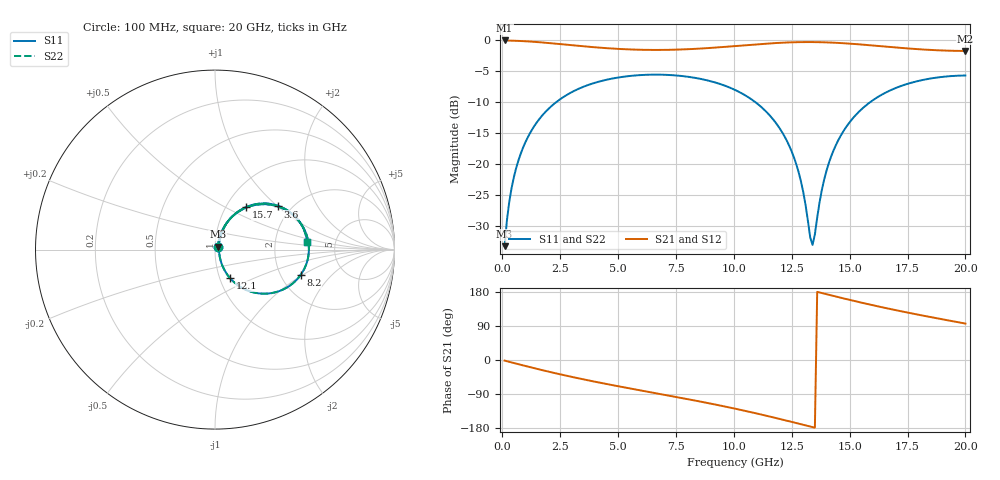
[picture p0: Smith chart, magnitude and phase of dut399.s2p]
! Touchstone file exported from HFSS 2026.1.0
!  File:  C:/ffzhzh/LocalFiles/Ansys_Project_Files/temp_train_TSV_RDL_399_1783092122_53076.aedt
!  Generated:  11:34:22 PM Jul  3, 2026
!  Design:  TSV_RDL
!  Project:  temp_train_TSV_RDL_399_1783092122_53076
! Variables:
!  h_bsmrdl = 4.6um
!  h_ox = 20um
!  h_rdl = 5um
!  h_sub = 90.28um
!  h_tmrdl = 5.71um
!  h_tsv = 90.28um
!  h_via = 3um
!  l_bsmrdl = 144.47um
!  l_sub = 4429.01um
!  l_tmrdl = 864.61um
!  m_sub = 200um
!  pitch = 49.8um
!  r_tsv = 5.49um
!  s_tmrdl = 10um
!  w_bsmrdl = 24.38um
!  w_sub = 500um
!  w_tmrdl = 21.34um
!  x_tsv_center1 = 875.28um
!  x_tsv_center2 = 1044.13um
!  x_tsv_center3 = 1930.08um
!  x_tsv_center4 = 2098.93um
!  x_tsv_center5 = 2984.88um
!  x_tsv_center6 = 3153.73um
# GHz S MA R 50.000000
! Terminal data exported
! Port[1] = TM_RDL1_1_T1
! Port[2] = TM_RDL5_1_T1
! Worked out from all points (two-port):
!   200 points, 100 MHz to 20 GHz, reference 50 ohm
!   highest |S21| = -0.13 dB at 100 MHz (marker M1); lowest = -1.8 dB at 20 GHz (marker M2)
!   |S21| within 3 dB of the highest: start of sweep to end of sweep
!   lowest |S11| = -33.2 dB at 100 MHz (marker M3), VSWR 1.04, Z = 51.5 + j1.62 ohm
!   |S11| at or under -10 dB: start of sweep to 2.348 GHz; 10.91 GHz to 15.91 GHz (4.997 GHz wide, 37.3 % of centre)
!   |S22| runs from -33.2 to -5.6 dB; largest |S21 - S12| = 1.7e-14
!   S11 on the Smith chart (normalised r, x): 100 MHz: 1.03, +0.03; 3.6 GHz: 1.71, +1.00; 8.2 GHz: 2.56, -0.97; 12.1 GHz: 1.12, -0.36; 15.7 GHz: 1.24, +0.65; 20 GHz: 3.07, +0.37
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0.1  0.02181 46.2  0.9852 -1.7  0.9852 -1.7  0.02181 46.2
! Gamma 0 0 0 0
! Port Impedance 50 0 50 0
0.3  0.04944 66.3  0.983 -4.8  0.983 -4.8  0.04945 66.3
0.5  0.07832 69.7  0.9804 -8.0  0.9804 -8.0  0.07832 69.7
1.1  0.1637 66.2  0.9684 -17.4  0.9684 -17.4  0.1637 66.2
2.1  0.2895 53.6  0.936 -32.2  0.936 -32.2  0.2895 53.6
3.5  0.4175 35.7  0.8842 -51.0  0.8842 -51.0  0.4175 35.7
3.6  0.4245 34.5  0.8808 -52.3  0.8808 -52.3  0.4245 34.5
5.2  0.5023 16.0  0.8391 -71.5  0.8391 -71.5  0.5023 16.0
6.8  0.5229 -1.3  0.8267 -89.6  0.8267 -89.6  0.5229 -1.3
8.2  0.4973 -16.6  0.8408 -105.5  0.8408 -105.5  0.4973 -16.6
10.1  0.3902 -38.7  0.8898 -129.0  0.8898 -129.0  0.3902 -38.7
11.2  0.2855 -52.2  0.9235 -144.1  0.9235 -144.1  0.2855 -52.2
12.1  0.1781 -62.3  0.9455 -157.3  0.9455 -157.3  0.1781 -62.3
12.8  0.08556 -64.7  0.955 -167.9  0.955 -167.9  0.08551 -64.8
13.4  0.02233 4.9  0.9563 -177.2  0.9563 -177.2  0.02228 5.0
13.8  0.06168 64.0  0.9534 176.7  0.9534 176.7  0.06169 64.1
14.2  0.1146 68.0  0.9477 170.6  0.9477 170.6  0.1146 68.1
14.8  0.192 63.8  0.9345 161.6  0.9345 161.6  0.192 63.9
15.7  0.2952 53.6  0.9076 148.7  0.9076 148.7  0.2953 53.6
16.7  0.3866 41.6  0.8744 135.2  0.8744 135.2  0.3866 41.6
18.4  0.4836 22.2  0.8284 114.4  0.8284 114.4  0.4836 22.2
20  0.5149 5.0  0.8109 96.2  0.8109 96.2  0.5149 5.0
